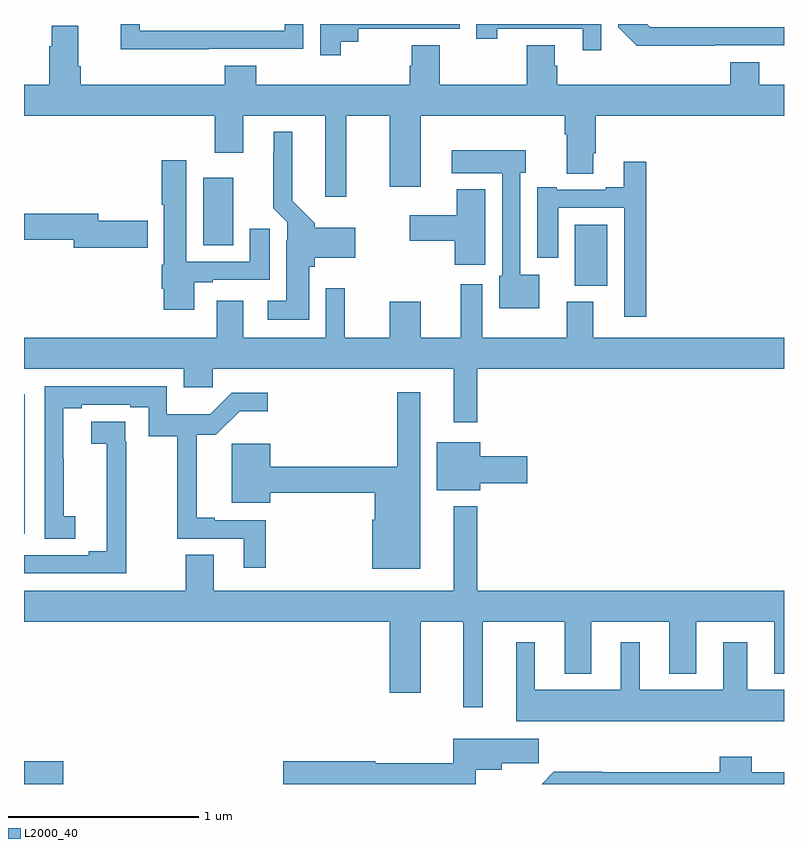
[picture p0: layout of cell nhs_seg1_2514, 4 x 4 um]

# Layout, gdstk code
import gdstk
lib = gdstk.Library(unit=1e-6, precision=1e-09)
def R(c, l, rs):  # rectangles x0, y0, x1, y1
    for r in rs: c.add(gdstk.rectangle(r[:2], r[2:], *l))
def P(c, l, *ps):  # polygons
    for p in ps: c.add(gdstk.Polygon(p, *l))
L2000_40 = (2000, 40)

nhs_seg1_2514 = lib.new_cell('nhs_seg1_2514')
R(nhs_seg1_2514, L2000_40, [(247,564.199,247.207,564.32), (247,565.515,247.003,566.251), (249.899,566.822,250.069,567.142), (247.943,567.034,248.101,567.391)])
P(nhs_seg1_2514, L2000_40, [(247.973,568.068),(248.469,568.068),(248.469,568.199),(248.373,568.199),(248.373,568.164),(247.608,568.164),(247.608,568.199),(247.51,568.199),(247.51,568.067),(247.973,568.067)],
  [(248.668,568.105),(248.76,568.105),(248.76,568.173),(249.294,568.173),(249.294,568.199),(248.559,568.199),(248.559,568.035),(248.668,568.035)],
  [(250.634,568.086),(251,568.086),(251,568.182),(250.296,568.182),(250.279,568.199),(250.128,568.199),(250.128,568.182),(250.226,568.085),(250.634,568.085)],
  [(250.038,568.199),(249.379,568.199),(249.379,568.122),(249.49,568.122),(249.49,568.173),(249.941,568.173),(249.941,568.062),(250.038,568.062)],
  [(248.695,567.716),(248.924,567.716),(248.924,567.342),(249.088,567.342),(249.088,567.716),(249.845,567.716),(249.845,567.62),(249.857,567.62),(249.857,567.412),(249.997,567.412),(249.997,567.52),(250.01,567.52),(250.01,567.716),(251,567.716),(251,567.88),(250.87,567.88),(250.87,567.997),(250.718,567.997),(250.718,567.88),(249.806,567.88),(249.806,567.978),(249.793,567.978),(249.793,568.088),(249.646,568.088),(249.646,567.88),(249.189,567.88),(249.189,568.088),(249.041,568.088),(249.041,567.978),(249.029,567.978),(249.029,567.88),(248.222,567.88),(248.222,567.979),(248.057,567.979),(248.057,567.88),(247.298,567.88),(247.298,567.976),(247.285,567.976),(247.285,568.189),(247.145,568.189),(247.145,568.082),(247.133,568.082),(247.133,567.88),(247,567.88),(247,567.716),(248.003,567.716),(248.003,567.522),(248.155,567.522),(248.155,567.716),(248.585,567.716),(248.585,567.291),(248.695,567.291)],
  [(248.5,566.922),(248.531,566.922),(248.531,566.969),(248.743,566.969),(248.743,567.127),(248.531,567.127),(248.531,567.15),(248.413,567.268),(248.413,567.631),(248.315,567.631),(248.315,567.521),(248.312,567.521),(248.312,567.229),(248.385,567.156),(248.385,567.062),(248.381,567.062),(248.381,566.743),(248.283,566.743),(248.283,566.642),(248.5,566.642)],
  [(249.712,566.878),(249.612,566.878),(249.612,567.417),(249.64,567.417),(249.64,567.535),(249.252,567.535),(249.252,567.413),(249.516,567.413),(249.516,566.874),(249.5,566.874),(249.5,566.702),(249.712,566.702)],
  [(247.897,566.841),(247.993,566.841),(247.993,566.853),(248.293,566.853),(248.293,567.121),(248.189,567.121),(248.189,566.949),(247.855,566.949),(247.855,567.481),(247.724,567.481),(247.724,567.247),(247.736,567.247),(247.736,566.933),(247.724,566.933),(247.724,566.806),(247.736,566.806),(247.736,566.694),(247.897,566.694)],
  [(250.274,567.475),(250.157,567.475),(250.157,567.34),(250.061,567.34),(250.061,567.327),(249.805,567.327),(249.805,567.34),(249.701,567.34),(249.701,566.97),(249.811,566.97),(249.811,567.231),(250.158,567.231),(250.158,566.658),(250.274,566.658)],
  [(249.427,567.328),(249.278,567.328),(249.278,567.193),(249.03,567.193),(249.03,567.059),(249.266,567.059),(249.266,566.931),(249.427,566.931)],
  [(247.651,567.164),(247.39,567.164),(247.39,567.2),(247,567.2),(247,567.064),(247.262,567.064),(247.262,567.022),(247.651,567.022)],
  [(249.385,566.384),(251,566.384),(251,566.548),(249.997,566.548),(249.997,566.737),(249.857,566.737),(249.857,566.548),(249.412,566.548),(249.412,566.83),(249.299,566.83),(249.299,566.548),(249.088,566.548),(249.088,566.737),(248.924,566.737),(248.924,566.548),(248.688,566.548),(248.688,566.809),(248.589,566.809),(248.589,566.548),(248.155,566.548),(248.155,566.743),(248.015,566.743),(248.015,566.548),(247,566.548),(247,566.384),(247.841,566.384),(247.841,566.286),(247.993,566.286),(247.993,566.384),(249.263,566.384),(249.263,566.103),(249.385,566.103)],
  [(248.273,565.587),(248.005,565.587),(248.005,565.6),(247.91,565.6),(247.91,566.037),(248.009,566.037),(248.135,566.162),(248.284,566.162),(248.284,566.259),(248.094,566.259),(247.981,566.146),(247.752,566.146),(247.752,566.292),(247.11,566.292),(247.11,565.489),(247.27,565.489),(247.27,565.609),(247.209,565.609),(247.209,565.913),(247.207,565.913),(247.207,566.176),(247.303,566.176),(247.303,566.196),(247.559,566.196),(247.559,566.182),(247.656,566.182),(247.656,566.029),(247.807,566.029),(247.807,565.491),(248.156,565.491),(248.156,565.338),(248.273,565.338)],
  [(249.085,566.26),(248.964,566.26),(248.964,565.868),(248.296,565.868),(248.296,565.989),(248.093,565.989),(248.093,565.679),(248.296,565.679),(248.296,565.732),(248.846,565.732),(248.846,565.59),(248.834,565.59),(248.834,565.331),(249.085,565.331)],
  [(247.538,566.003),(247.532,566.003),(247.532,566.105),(247.353,566.105),(247.353,565.99),(247.435,565.99),(247.435,565.707),(247.436,565.707),(247.436,565.424),(247.34,565.424),(247.34,565.404),(247,565.404),(247,565.308),(247.538,565.308)],
  [(249.4,565.781),(249.649,565.781),(249.649,565.923),(249.4,565.923),(249.4,565.999),(249.173,565.999),(249.173,565.745),(249.4,565.745)],
  [(249.415,565.052),(249.845,565.052),(249.845,564.779),(249.985,564.779),(249.985,565.052),(250.397,565.052),(250.397,564.779),(250.537,564.779),(250.537,565.052),(250.949,565.052),(250.949,564.779),(251,564.779),(251,565.216),(249.385,565.216),(249.385,565.66),(249.263,565.66),(249.263,565.216),(247.999,565.216),(247.999,565.406),(247.852,565.406),(247.852,565.216),(247,565.216),(247,565.052),(248.924,565.052),(248.924,564.678),(249.088,564.678),(249.088,565.052),(249.311,565.052),(249.311,564.603),(249.415,564.603)],
  [(251,564.694),(250.807,564.694),(250.807,564.946),(250.679,564.946),(250.679,564.694),(250.24,564.694),(250.24,564.946),(250.142,564.946),(250.142,564.694),(249.688,564.694),(249.688,564.946),(249.59,564.946),(249.59,564.53),(251,564.53)],
  [(249.377,564.275),(249.514,564.275),(249.514,564.307),(249.709,564.307),(249.709,564.436),(249.259,564.436),(249.259,564.307),(248.848,564.307),(248.848,564.32),(248.364,564.32),(248.364,564.199),(249.377,564.199)],
  [(251,564.26),(250.831,564.26),(250.831,564.343),(250.661,564.343),(250.661,564.26),(250.043,564.26),(250.043,564.263),(249.788,564.263),(249.724,564.199),(251,564.199)])

lib.write_gds('nhs_seg1_2514.gds')
